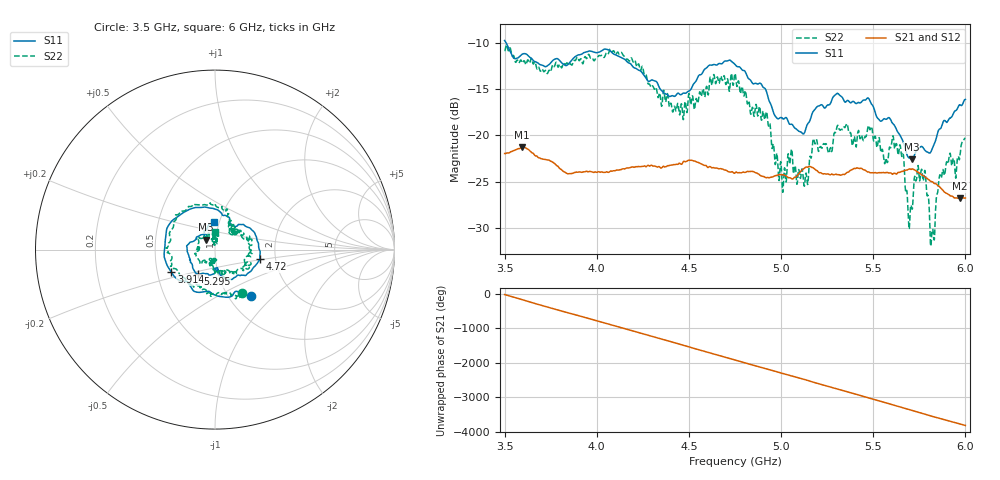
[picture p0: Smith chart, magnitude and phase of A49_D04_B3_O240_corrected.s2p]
! Created with skrf 1.9.0 (http://scikit-rf.org).
# Hz S RI R 50.0
!freq ReS11 ImS11 ReS21 ImS21 ReS12 ImS12 ReS22 ImS22
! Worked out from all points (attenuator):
!   1601 points, 3.5 GHz to 6 GHz, reference 50 ohm
!   highest |S21| = -21.30 dB at 3.594 GHz (marker M1); lowest = -26.8 dB at 5.972 GHz (marker M2)
!   lowest |S11| = -22.6 dB at 5.709 GHz (marker M3), VSWR 1.16, Z = 45.1 + j5.1 ohm
!   |S11| at or under -10 dB: 3.508 GHz to end of sweep
!   |S22| runs from -32.0 to -10.2 dB; largest |S21 - S12| = 0.00099
!   S11 on the Smith chart (normalised r, x): 3.5 GHz: 1.27, -0.73; 3.914 GHz: 0.59, -0.16; 4.72 GHz: 1.65, -0.18; 5.295 GHz: 0.80, -0.22; 6 GHz: 0.94, +0.30
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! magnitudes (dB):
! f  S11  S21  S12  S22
! 3.5 GHz  -9.7  -22.0  -21.9  -10.9
! 3.594 GHz  -11.2  -21.3  -21.3  -12.1
! 3.914 GHz  -11.3  -24.0  -23.9  -11.7
! 3.917 GHz  -11.2  -24.0  -24.0  -11.9
! 4.127 GHz  -11.5  -23.7  -23.7  -11.1
! 4.334 GHz  -14.6  -23.4  -23.3  -15.9
! 4.72 GHz  -11.9  -24.0  -24.0  -15.2
! 4.75 GHz  -12.3  -24.1  -24.0  -13.3
! 4.928 GHz  -15.8  -24.5  -24.5  -18.5
! 5.017 GHz  -18.2  -24.3  -24.2  -23.7
! 5.048 GHz  -18.8  -24.6  -24.6  -22.9
! 5.136 GHz  -19.2  -23.4  -23.4  -24.1
! 5.167 GHz  -17.7  -23.5  -23.4  -21.8
! 5.295 GHz  -15.6  -24.2  -24.1  -19.7
! 5.584 GHz  -18.1  -24.1  -24.0  -21.8
! 5.653 GHz  -20.3  -23.9  -23.8  -22.1
! 5.709 GHz  -22.6  -23.6  -23.6  -28.0
! 5.772 GHz  -21.4  -24.4  -24.3  -24.9
! 5.822 GHz  -21.4  -25.0  -25.0  -30.2
! 5.867 GHz  -19.2  -25.7  -25.6  -24.6
! 5.972 GHz  -16.7  -26.8  -26.7  -22.0
! 6 GHz  -16.1  -26.8  -26.7  -20.3
